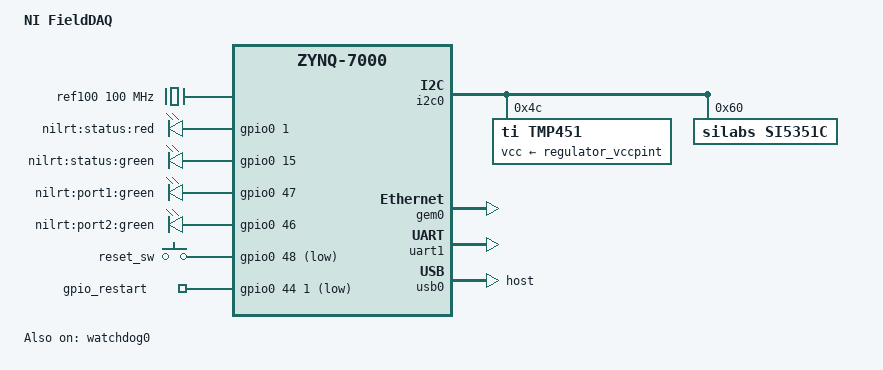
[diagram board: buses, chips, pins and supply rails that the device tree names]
// SPDX-License-Identifier: GPL-2.0
/*
 * Copyright (C) 2016 - 2018 National Instruments
 */

/dts-v1/;
#include <dt-bindings/input/input.h>
#include <dt-bindings/gpio/gpio.h>
#include "ni-expio.dtsi"

/ {
	model = "NI FieldDAQ";
	compatible = "ni,fielddaq", "xlnx,zynq-7000";

	/*
	 * This 100MHz reference clock is actually the output of a Si514;
	 * However, we do not declare it in the device tree because it is
	 * steered in usermode, and therefore we don't want a kernel driver
	 * to attach to it.
	 */
	ref100: oscillator {
		compatible = "fixed-clock";
		#clock-cells = <0>;
		clock-frequency = <100000000>;
	};

	leds {
		compatible = "gpio-leds";

		/* "LED_USER_RED" is on GPIO1 */
		status {
			label = "nilrt:status:red";
			gpios = <&gpio0 1 GPIO_ACTIVE_HIGH>;
			default-state = "on";
		};

		/* "LED_USER_GREEN" is on GPIO15 */
		active {
			label = "nilrt:status:green";
			gpios = <&gpio0 15 GPIO_ACTIVE_HIGH>;
			default-state = "on";
		};

		/* "ZYNQ_LED0_P1" is on GPIO47 */
		port1 {
			label = "nilrt:port1:green";
			gpios = <&gpio0 47 GPIO_ACTIVE_HIGH>;
			linux,default-trigger = "dsa-0:00:01:link";
		};

		/* "ZYNQ_LED0_P2" is on GPIO46 */
		port2 {
			label = "nilrt:port2:green";
			gpios = <&gpio0 46 GPIO_ACTIVE_HIGH>;
			linux,default-trigger = "dsa-0:00:02:link";
		};
	};

	gpio_keys {
		compatible = "gpio-keys";
		#address-cells = <1>;
		#size-cells = <0>;

		/* Reset switch is on GPIO48 */
		reset_sw {
			label = "reset_sw";
			gpios = <&gpio0 48 GPIO_ACTIVE_LOW>;
			linux,code = <KEY_RESTART>;
			gpio-key,wakeup;
		};
	};

	gpio_restart {
		compatible = "gpio-restart";

		/* ~PS_FORCE_RESET is on GPIO44 */
		gpios = <&gpio0 44 1 GPIO_ACTIVE_LOW>;
		priority = <200>;
	};
};

&i2c0 {
	status = "okay";

	tmp451@4C {
		compatible = "ti,tmp451";
		reg = <0x4C>;
		vcc-supply = <&regulator_vccpint>;
	};

	si5351c: clock-generator@60 {
		compatible = "silabs,si5351c";
		reg = <0x60>;
		#address-cells = <1>;
		#size-cells = <0>;
		#clock-cells = <1>;

		clocks = <&ref100>;
		clock-names = "clkin";

		silabs,pll-source = <0 1>, <1 0>;
		silabs,pll-frequency = <0 737280000>;

		umber-btsi0@0 {
			reg = <0>;
			silabs,drive-strength = <8>;
			silabs,multisynth-source = <0>;
			silabs,clock-source = <0>;
			silabs,disable-state = <0>;
			clock-frequency = <12800000>;
		};

		umber-sysclk@1 {
			reg = <1>;
			silabs,drive-strength = <8>;
			silabs,multisynth-source = <0>;
			silabs,clock-source = <0>;
			silabs,disable-state = <0>;
			clock-frequency = <80000000>;
		};

		umber-btsi1@2 {
			reg = <2>;
			silabs,drive-strength = <8>;
			silabs,multisynth-source = <0>;
			silabs,clock-source = <0>;
			silabs,disable-state = <0>;
			clock-frequency = <13107200>;
		};

		umber-btsi3@4 {
			reg = <4>;
			silabs,drive-strength = <8>;
			silabs,multisynth-source = <0>;
			silabs,clock-source = <0>;
			silabs,disable-state = <0>;
			clock-frequency = <10240000>;
		};

		umber-btsi4@7 {
			reg = <7>;
			silabs,drive-strength = <8>;
			silabs,multisynth-source = <0>;
			silabs,clock-source = <0>;
			silabs,disable-state = <0>;
			clock-frequency = <12288000>;
		};
	};
};

&gem0 {
	status = "okay";
};

&uart1 {
	status = "okay";
};

&usb0 {
	status = "okay";
	dr_mode = "host";
};

&watchdog0 {
	status = "okay";
	reset-on-timeout;
};
